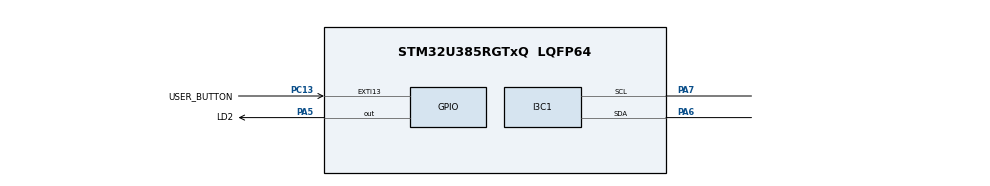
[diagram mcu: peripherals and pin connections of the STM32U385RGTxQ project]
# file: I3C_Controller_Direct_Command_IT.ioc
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CORTEX_M33_NS.userName=CORTEX_M33
I3C1.BusFreeDuration=432
I3C1.DutyCycleI3C=50
I3C1.FrequencyI3C=12500
I3C1.RXFIFOThreshold=HAL_I3C_RXFIFO_THRESHOLD_1_4
I3C1.Register0=0x00230303
I3C1.Register1=0x1014005e
I3C1.SCLI3CHighDuration=0x03
I3C1.SCLODLowDuration=0x23
I3C1.SCLPPLowDuration=0x03
I3C1.SCL_OD_Freq=2400
I3C1.SCL_PP_Freq=12000
I3C1.SDAHoldTime=HAL_I3C_SDA_HOLD_TIME_1_5
I3C1.TXFIFOThreshold=HAL_I3C_TXFIFO_THRESHOLD_1_4
I3C1.hexBusFreeDuration=0x14
I3C1.hexBusIdleDuration=0x5e
Mcu.Family=STM32U3
Mcu.Name=STM32U385RGTxQ
Mcu.Package=LQFP64
NVIC.EXTI13_IRQn=true\:0\:0\:false\:false\:true\:true\:true\:true
NVIC.I3C1_ER_IRQn=true\:0\:0\:false\:false\:true\:true\:true\:true
NVIC.I3C1_EV_IRQn=true\:0\:0\:false\:false\:true\:true\:true\:true
NVIC.PriorityGroup=NVIC_PRIORITYGROUP_4
PA5.GPIO_Label=LD2
PA5.Signal=GPIO_Output
PA6.Mode=Controller
PA6.Signal=I3C1_SDA
PA7.Mode=Controller
PA7.Signal=I3C1_SCL
PC13.GPIO_Label=USER_BUTTON
PC13.Signal=GPXTI13
ProjectManager.HeapSize=0x200
ProjectManager.StackSize=0x400
ProjectManager.TargetToolchain=EWARM V9.20
RCC.ADCFreq_Value=96000000
RCC.AHBFreq_Value=96000000
RCC.APB1Freq_Value=96000000
RCC.APB1TimFreq_Value=96000000
RCC.APB2Freq_Value=96000000
RCC.APB2TimFreq_Value=96000000
RCC.APB3Freq_Value=96000000
RCC.CortexFreq_Value=12000000
RCC.HCLKFreq_Value=96000000
RCC.HSE_VALUE=16000000
RCC.HSI48_VALUE=48000000
RCC.HSI_VALUE=16000000
RCC.LSE_VALUE=32768
RCC.LSIDIV_VALUE=32000
RCC.MSISDIV=RCC_MSI_DIV1
RCC.SYSCLKFreq_VALUE=96000000
RCC.USBFreq_Value=96000000
VP_ICACHE_VS_ICACHE.Mode=DirectMappedCache
VP_PWR_VS_DBSignals.Mode=DisableDeadBatterySignals
VP_PWR_VS_LPOM.Mode=PowerOptimisation
VP_PWR_VS_SECSignals.Mode=Security/Privilege
board=custom

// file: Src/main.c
/* USER CODE BEGIN Header */
/**
  ******************************************************************************
  * @file    I3C/I3C_Controller_Direct_Command_IT/Src/main.c
  * @author  MCD Application Team
  * @brief   This sample code shows how to use STM32U3xx I3C LL API as Controller
  *          to manage a Direct Command procedure between a Controller and a Target
  *          with a communication process based on IT transfer on Controller Side.
  *          The communication is done using 2 Boards.
  ******************************************************************************
  * @attention
  *
  * Copyright (c) 2024 STMicroelectronics.
  * All rights reserved.
  *
  * This software is licensed under terms that can be found in the LICENSE file
  * in the root directory of this software component.
  * If no LICENSE file comes with this software, it is provided AS-IS.
  *
  ******************************************************************************
  */
/* USER CODE END Header */
#include "main.h"

/* USER CODE BEGIN Includes */
#include "desc_target1.h"
#include "desc_target2.h"
/* USER CODE END Includes */

/* USER CODE BEGIN PV */
__IO uint8_t ubButtonPress = 0;

/* Number of Targets detected during DAA procedure */
__IO uint32_t uwTargetCount = 0;

/* Array contain targets descriptor */
TargetDesc_TypeDef *aTargetDesc[2] = \
                          {
                            &TargetDesc1,       /* DEVICE_ID1 */
                            &TargetDesc2        /* DEVICE_ID2 */
                          };

uint8_t aPayloadBuffer[64*COUNTOF(aTargetDesc)];

/* Array contain SET CCC associated data */
uint8_t aSETMWL_data[2] = {0x0, 0x4};
uint8_t aSETMRL_data[2] = {0x0, 0x4};

/* Descriptor for direct read CCC */
I3C_CCCTypeDef aGET_CCCList[] =
{
    /*   Target Addr              CCC Value    CCC data + defbyte pointer  CCC size + defbyte         Direction       */
    {TARGET1_DYN_ADDR,          Direct_GETPID,          {NULL,                  6},             LL_I3C_DIRECTION_READ},
    {TARGET1_DYN_ADDR,          Direct_GETBCR,          {NULL,                  1},             LL_I3C_DIRECTION_READ},
    {TARGET1_DYN_ADDR,          Direct_GETDCR,          {NULL,                  1},             LL_I3C_DIRECTION_READ},
    {TARGET1_DYN_ADDR,          Direct_GETMWL,          {NULL,                  2},             LL_I3C_DIRECTION_READ},
    {TARGET1_DYN_ADDR,          Direct_GETMRL,          {NULL,                  2},             LL_I3C_DIRECTION_READ},
    {TARGET1_DYN_ADDR,          Direct_GETSTATUS,       {NULL,                  2},             LL_I3C_DIRECTION_READ},
};

/* Descriptor for direct write CCC */
I3C_CCCTypeDef aSET_CCCList[] =
{
    /*   Target Addr              CCC Value    CCC data + defbyte pointer  CCC size + defbyte         Direction       */
    {TARGET1_DYN_ADDR,          Direct_SETMWL,          {aSETMWL_data,          2},             LL_I3C_DIRECTION_WRITE},
    {TARGET1_DYN_ADDR,          Direct_SETMRL,          {aSETMRL_data,          2},             LL_I3C_DIRECTION_WRITE},
};

/* Array contain Get CCC name in char, this array is use to print the value receive during Get CCC procedure */
char* aCommandCode[] = {
  "GETPID",
  "GETBCR",
  "GETDCR",
  "GETMWL",
  "GETMRL",
  "GETSTATUS"};

/* CCC transfer variables */
uint8_t ubCCCIdx = 0;
uint8_t ubFrameIdx = 0;
uint32_t uwCCCMessage[0xFF] = {0};
__IO uint32_t uwExitCondition = LL_I3C_GENERATE_RESTART;
__IO uint8_t ubNbCCC = 0;

/* Buffer used for reception */
uint8_t aRxBuffer[0x10];
__IO uint8_t ubNbRxData = 0;

/* Buffer used for transmission */
uint8_t aTxBuffer[0x10];
__IO uint8_t ubNbTxDataToTransfer = 0;
__IO uint8_t ubNbTxData = 0;

/* Function pointer on function TX buffer treatment */
void (*ptrTXFunc)(void);

/* Completion status */
__IO uint8_t ubFrameComplete = 0;
__IO uint8_t ubReceptionComplete = 0;
/* USER CODE END PV */

void SystemClock_Config(void);
static void MX_GPIO_Init(void);
static void MX_I3C1_Init(void);
static void MX_ICACHE_Init(void);
/* USER CODE BEGIN PFP */
void LED_On(void);
void LED_Off(void);
void LED_Toggle(void);
void LED_Blinking(uint32_t Period);
void WaitForUserButtonPress(void);
void FlushBuffer8(uint8_t* pBuffer1, uint16_t BufferSize);
void Handle_ENTDAA_Controller(void);
void Prepare_GET_CCC_Transfer(void);
void Prepare_SET_CCC_Transfer(void);
void Handle_CCC_Controller(void);
static void I3C_DynamicAddressTreatment(void);
static void I3C_TransmitByteTreatment(void);
static void DisplayCCCValue(I3C_CCCTypeDef *pGetCCCList, char **pCCCCharList, uint8_t *pCCCBuffer, uint8_t nbCCC);
#if (defined (__GNUC__) && !defined(__ARMCC_VERSION))
extern void initialise_monitor_handles(void);
#endif
/* USER CODE END PFP */

int main(void)
{

  /* USER CODE BEGIN 1 */
#if (defined (__GNUC__) && !defined(__ARMCC_VERSION))
  initialise_monitor_handles();
  printf("Semihosting Test...\n\r");
#endif
  /* USER CODE END 1 */

  /* MCU Configuration--------------------------------------------------------*/

  /* Reset of all peripherals, Initializes the Flash interface and the Systick. */

  /* System interrupt init*/
  NVIC_SetPriorityGrouping(NVIC_PRIORITYGROUP_4);

  /* SysTick_IRQn interrupt configuration */
  NVIC_SetPriority(SysTick_IRQn, NVIC_EncodePriority(NVIC_GetPriorityGrouping(),15, 0));

  /* Configure the system clock */
  SystemClock_Config();

  /* Initialize all configured peripherals */
  MX_GPIO_Init();
  MX_I3C1_Init();
  MX_ICACHE_Init();
  /* USER CODE BEGIN 2 */
  /* Set LD2 Off */
  LED_Off();

  /*##- Start Dynamic Address Assignment procedure ##################################*/

  /* Wait for User push-button press to start transfer */
  WaitForUserButtonPress();

  /* Handle Dynamic Address Assignment */
  Handle_ENTDAA_Controller();

  /* Wait end of Dynamic Address Assignment procedure */
  while(ubFrameComplete == 0U);

  /* Reset Complete variable */
  ubFrameComplete = 0;

  /*##- Prepare all CCC command  ####################################################*/
  /*  Each command is separate by a repeated start,
  until the end of the corresponding array aGET_CCCList then aSET_CCCList where
  an auto stop is generated */

  /* Wait for User push-button press to start transfer */
  WaitForUserButtonPress();

  /* Prepare CCC transfer from array aGET_CCCList then aSET_CCCList */
  Prepare_GET_CCC_Transfer();
  Prepare_SET_CCC_Transfer();

  /*##- Send the First part of CCC command ##########################################*/
  /*  Each command is separate by an repeated start,
  until the end of the corresponding array */

  /* Handle CCC transfer for first step of this example, mean GETCCC */
  Handle_CCC_Controller();

  /* Wait end of CCC transfer procedure */
  while(ubFrameComplete == 0U);

  /*##- Monitor the different value retrieve during CCC get #########################*/
  /*  At the end, of transfer, the application have retrieve all the data of
  the frame in an unique buffer, which must be unfill to retrieve the associated
  value for each get CCC command. */
  /* Display through external Terminal IO the Get CCC associated value received */
  DisplayCCCValue(aGET_CCCList, &aCommandCode[0], &aRxBuffer[0], COUNTOF(aGET_CCCList));

  /* Reset Complete variable */
  ubFrameComplete = 0;

  /*##- Send the second part of CCC command #########################################*/
  /*  Each command is separate by an repeated start,
  until the end of the corresponding array */

  /* Wait for User push-button press to start transfer */
  WaitForUserButtonPress();

  /* Handle CCC transfer for second step of this example, mean SETCCC */
  Handle_CCC_Controller();

  /* Wait end of CCC transfer procedure */
  while(ubFrameComplete == 0U);

  /* Reset Complete variable */
  ubFrameComplete = 0;

  /* USER CODE END 2 */

  /* Infinite loop */
  while (1)
  {

  }
}

void SystemClock_Config(void)
{
  /** Enable Epod Booster
  */
  LL_AHB1_GRP2_EnableClock(LL_AHB1_GRP2_PERIPH_PWR);
  LL_RCC_SetEPODBoosterClkSource(LL_RCC_EPODBOOSTCLKSRCE_MSIS);
  LL_RCC_SetEPODBoosterClkPrescaler(LL_RCC_EPODBOOSTCLKPRESCAL_1);
  LL_PWR_EnableEPODBooster();
  while(LL_PWR_IsActiveFlag_BOOST() != 1U)
  {
  }

  /** Configure the main internal regulator output voltage
  */
  LL_PWR_SetRegulVoltageScaling(LL_PWR_REGU_VOLTAGE_SCALE1);
  while(LL_PWR_GetRegulCurrentVOS() != LL_PWR_REGU_VOLTAGE_SCALE1)
  {
  }

  /** Set Flash latency before switching to MSIS
  */
  LL_FLASH_SetLatency(LL_FLASH_LATENCY_2);
  while(LL_FLASH_GetLatency() != LL_FLASH_LATENCY_2)
  {
  }

  /** Activate MSIS as source
  */
  LL_RCC_MSIS_SetClockSource(LL_RCC_MSIS_CLOCK_SOURCE_RC0);
  LL_RCC_MSIS_SetClockDivision(LL_RCC_MSIS_CLOCK_SOURCE_RC_DIV_1);
  LL_RCC_MSI_SetMSIxClockRange();
  LL_RCC_SetSysClkSource(LL_RCC_SYS_CLKSOURCE_MSIS);

  /** Wait till System clock is ready
  */
  while(LL_RCC_GetSysClkSource() != LL_RCC_SYS_CLKSOURCE_MSIS)
  {
  }

  LL_RCC_SetAHBPrescaler(LL_RCC_HCLK_SYSCLK_DIV_1);
  LL_RCC_SetAPB1Prescaler(LL_RCC_APB1_HCLK_DIV_1);
  LL_RCC_SetAPB2Prescaler(LL_RCC_APB2_HCLK_DIV_1);
  LL_RCC_SetAPB3Prescaler(LL_RCC_APB3_HCLK_DIV_1);

  LL_Init1msTick(96000000);

  LL_SetSystemCoreClock(96000000);
}

static void MX_I3C1_Init(void)
{

  LL_GPIO_InitTypeDef GPIO_InitStruct = {0};

  LL_RCC_SetI3CClockSource(LL_RCC_I3C1_CLKSOURCE_PCLK1);

  /* Peripheral clock enable */
  LL_APB1_GRP1_EnableClock(LL_APB1_GRP1_PERIPH_I3C1);

  LL_AHB2_GRP1_EnableClock(LL_AHB2_GRP1_PERIPH_GPIOA);
  /**I3C1 GPIO Configuration
  PA6   ------> I3C1_SDA
  PA7   ------> I3C1_SCL
  */
  GPIO_InitStruct.Pin = LL_GPIO_PIN_6|LL_GPIO_PIN_7;
  GPIO_InitStruct.Mode = LL_GPIO_MODE_ALTERNATE;
  GPIO_InitStruct.Speed = LL_GPIO_SPEED_FREQ_VERY_HIGH;
  GPIO_InitStruct.OutputType = LL_GPIO_OUTPUT_PUSHPULL;
  GPIO_InitStruct.Pull = LL_GPIO_PULL_NO;
  GPIO_InitStruct.Alternate = LL_GPIO_AF_6;
  LL_GPIO_Init(GPIOA, &GPIO_InitStruct);

  /* I3C1 interrupt Init */
  NVIC_SetPriority(I3C1_EV_IRQn, NVIC_EncodePriority(NVIC_GetPriorityGrouping(),0, 0));
  NVIC_EnableIRQ(I3C1_EV_IRQn);
  NVIC_SetPriority(I3C1_ER_IRQn, NVIC_EncodePriority(NVIC_GetPriorityGrouping(),0, 0));
  NVIC_EnableIRQ(I3C1_ER_IRQn);

  /** I3C Initialization
  */
  LL_I3C_SetMode(I3C1, LL_I3C_MODE_CONTROLLER);
  LL_I3C_SetDataHoldTime(I3C1, LL_I3C_SDA_HOLD_TIME_1_5);
  LL_I3C_SetControllerActivityState(I3C1, LL_I3C_OWN_ACTIVITY_STATE_0);
  LL_I3C_ConfigClockWaveForm(I3C1, 0x00230303);
  LL_I3C_SetCtrlBusCharacteristic(I3C1, 0x1014005e);
  LL_I3C_DisableHJAck(I3C1);

  /** Configure FIFO
  */
  LL_I3C_SetRxFIFOThreshold(I3C1, LL_I3C_RXFIFO_THRESHOLD_1_4);
  LL_I3C_SetTxFIFOThreshold(I3C1, LL_I3C_TXFIFO_THRESHOLD_1_4);
  LL_I3C_DisableControlFIFO(I3C1);
  LL_I3C_DisableStatusFIFO(I3C1);

  /** Configure Controller
  */
  LL_I3C_SetOwnDynamicAddress(I3C1, 0);
  LL_I3C_EnableOwnDynAddress(I3C1);
  LL_I3C_SetStallTime(I3C1, 0x00);
  LL_I3C_DisableStallACK(I3C1);
  LL_I3C_DisableStallParityCCC(I3C1);
  LL_I3C_DisableStallParityData(I3C1);
  LL_I3C_DisableStallTbit(I3C1);
  LL_I3C_DisableHighKeeperSDA(I3C1);

  /** Enable the selected I3C peripheral
  */
  LL_I3C_Enable(I3C1);
  /* USER CODE BEGIN I3C1_Init 2 */

  /* Add a delay to let startup of High level on the Bus */
  LL_mDelay(1);

  LL_I3C_EnableIT_FC(I3C1);
  LL_I3C_EnableIT_CFNF(I3C1);
  LL_I3C_EnableIT_RXFNE(I3C1);
  LL_I3C_EnableIT_TXFNF(I3C1);
  LL_I3C_EnableIT_ERR(I3C1);
  /* USER CODE END I3C1_Init 2 */

}

static void MX_ICACHE_Init(void)
{

  /** Enable instruction cache in 1-way (direct mapped cache)
  */
  LL_ICACHE_SetMode(LL_ICACHE_1WAY);
  LL_ICACHE_Enable();

}

static void MX_GPIO_Init(void)
{
  LL_EXTI_InitTypeDef EXTI_InitStruct = {0};
  LL_GPIO_InitTypeDef GPIO_InitStruct = {0};

  /* GPIO Ports Clock Enable */
  LL_AHB2_GRP1_EnableClock(LL_AHB2_GRP1_PERIPH_GPIOC);
  LL_AHB2_GRP1_EnableClock(LL_AHB2_GRP1_PERIPH_GPIOA);

  /**/
  LL_GPIO_ResetOutputPin(LD2_GPIO_Port, LD2_Pin);

  /**/
  LL_EXTI_SetEXTISource(LL_EXTI_CONFIG_PORTC, LL_EXTI_CONFIG_LINE13);

  /**/
  EXTI_InitStruct.Line_0_31 = LL_EXTI_LINE_13;
  EXTI_InitStruct.LineCommand = ENABLE;
  EXTI_InitStruct.Mode = LL_EXTI_MODE_IT;
  EXTI_InitStruct.Trigger = LL_EXTI_TRIGGER_RISING;
  LL_EXTI_Init(&EXTI_InitStruct);

  /**/
  LL_GPIO_SetPinPull(USER_BUTTON_GPIO_Port, USER_BUTTON_Pin, LL_GPIO_PULL_NO);

  /**/
  LL_GPIO_SetPinMode(USER_BUTTON_GPIO_Port, USER_BUTTON_Pin, LL_GPIO_MODE_INPUT);

  /**/
  GPIO_InitStruct.Pin = LD2_Pin;
  GPIO_InitStruct.Mode = LL_GPIO_MODE_OUTPUT;
  GPIO_InitStruct.Speed = LL_GPIO_SPEED_FREQ_LOW;
  GPIO_InitStruct.OutputType = LL_GPIO_OUTPUT_PUSHPULL;
  GPIO_InitStruct.Pull = LL_GPIO_PULL_NO;
  LL_GPIO_Init(LD2_GPIO_Port, &GPIO_InitStruct);

  /* EXTI interrupt init*/
  NVIC_SetPriority(EXTI13_IRQn, NVIC_EncodePriority(NVIC_GetPriorityGrouping(),0, 0));
  NVIC_EnableIRQ(EXTI13_IRQn);

}

/* USER CODE BEGIN 4 */
/**
  * @brief  Flush 8-bit buffer.
  * @param  pBuffer1: pointer to the buffer to be flushed.
  * @param  BufferSize: Size of Buffer.
  * @retval None
  */
void FlushBuffer8(uint8_t* pBuffer1, uint16_t BufferSize)
{
  uint8_t Index = 0;

  for (Index = 0; Index < BufferSize; Index++)
  {
    pBuffer1[Index] = 0;
  }
}

/**
  * @brief  Turn-on LD2.
  * @param  None
  * @retval None
  */
void LED_On(void)
{
  /* Turn LD2 on */
  LL_GPIO_SetOutputPin(LD2_GPIO_Port, LD2_Pin);
}

/**
  * @brief  Turn-off LD2.
  * @param  None
  * @retval None
  */
void LED_Off(void)
{
  /* Turn LD2 off */
  LL_GPIO_ResetOutputPin(LD2_GPIO_Port, LD2_Pin);
}

/**
  * @brief  Toggle LD2.
  * @param  None
  * @retval None
  */
void LED_Toggle(void)
{
  /* Toggle LD2 on */
  LL_GPIO_TogglePin(LD2_GPIO_Port, LD2_Pin);
}

/**
  * @brief  Set LD2 to Blinking mode for an infinite loop (toggle period based on value provided as input parameter).
  * @param  Period : Period of time (in ms) between each toggling of LED
  *   This parameter can be user defined values. Pre-defined values used in that example are :
  *     @arg LED_BLINK_FAST : Fast Blinking
  *     @arg LED_BLINK_SLOW : Slow Blinking
  *     @arg LED_BLINK_ERROR : Error specific Blinking
  * @retval None
  */
void LED_Blinking(uint32_t Period)
{
  /* Turn LD2 on */
  LED_On();

  /* Toggle IO in an infinite loop */
  while (1)
  {
    LED_Toggle();
    LL_mDelay(Period);
  }
}

/**
  * @brief  This Function handle Controller events to perform an Assign dynamic address process
  * @note  This function is composed in one step :
  *        -1- Initiate the Dynamic address assignment procedure.
  * @param  None
  * @retval None
  */
void Handle_ENTDAA_Controller(void)
{
  /* Set Treatment function pointer */
  ptrTXFunc = &I3C_DynamicAddressTreatment;

  /* (1) Initiate a Dynamic Address Assignment to the Target connected on the bus ****/
  /* Controller Generate Start condition for a write request with a Broadcast ENTDAA:
  *  - to the Targets connected on the bus
  *  - with an auto stop condition generation when all Targets answer the ENTDAA sequence.
  */
  LL_I3C_ControllerHandleCCC(I3C1, Broadcast_ENTDAA, 0, LL_I3C_GENERATE_STOP);
}

/**
  * @brief  This Function handle Get Direct Common Command Code transfer to a target
  * @note  This function is composed in one step :
  *        -1- Compute the different parameter of aGET_CCCList array into CCC message.
  *            The CCC message take the structure of hardware Control Register
  *            to safe process time during the sending of Control data into the hardware.
  *            A repeated start is inserted between each CCC command.
  *            A stop is inserted at the end of the CCC array.
  * @param  None
  * @retval None
  */
void Prepare_GET_CCC_Transfer(void)
{
  uint32_t ControlMask = (I3C_CR_ADD | I3C_CR_DCNT | I3C_CR_RNW | I3C_CR_MTYPE | I3C_CR_MEND);

  for(ubCCCIdx = 0; ubCCCIdx < COUNTOF(aGET_CCCList); ubCCCIdx++)
  {
    /* (1) Prepare the CCC transfer to a Target connected on the bus ***********************/
    /* First part correspond to Direct Command Code value, size of the defining byte and
       repeated start for second part of CCC message.
    */
    MODIFY_REG(uwCCCMessage[ubFrameIdx],                                                                               \
               ControlMask,                                                                                            \
               ((aGET_CCCList[ubCCCIdx].CCC << I3C_CR_RNW_Pos)                                                       | \
               0                                                                                                     | \
               LL_I3C_CONTROLLER_MTYPE_CCC                                                                           | \
               LL_I3C_GENERATE_RESTART));

    /* Increment Frame index */
    ubFrameIdx++;

    /* Insert a stop condition at the end of the CCC array */
    if (ubCCCIdx == (COUNTOF(aGET_CCCList) - 1))
    {
      uwExitCondition = LL_I3C_GENERATE_STOP;
    }

    /* Second part correspond to Target address, size of the CCC associated data, direction and
       repeated start between each CCC message or stop the last CCC message.
    */
    MODIFY_REG(uwCCCMessage[ubFrameIdx],                                                                               \
               ControlMask,                                                                                            \
               ((aGET_CCCList[ubCCCIdx].TargetAddr << I3C_CR_ADD_Pos)                                                | \
               aGET_CCCList[ubCCCIdx].CCCBuf.Size                                                                    | \
               aGET_CCCList[ubCCCIdx].Direction                                                                      | \
               LL_I3C_CONTROLLER_MTYPE_DIRECT                                                                        | \
               uwExitCondition));

    /* Reset variable to Restart default value */
    uwExitCondition = LL_I3C_GENERATE_RESTART;

    /* Increment Frame index */
    ubFrameIdx++;
  }
}

/**
  * @brief  This Function handle Set Direct Common Command Code transfer to a target
  * @note  This function is composed in one step :
  *        -1- Compute the different parameter of aSET_CCCList array into CCC message.
  *            The CCC message take the structure of hardware Control Register
  *            to safe process time during the sending of Control data into the hardware.
  *            A repeated start is inserted between each CCC command.
  *            A stop is inserted at the end of the CCC array.
  * @param  None
  * @retval None
  */
void Prepare_SET_CCC_Transfer(void)
{
  uint32_t ControlMask = (I3C_CR_ADD | I3C_CR_DCNT | I3C_CR_RNW | I3C_CR_MTYPE | I3C_CR_MEND);

  for(ubCCCIdx = 0; ubCCCIdx < COUNTOF(aSET_CCCList); ubCCCIdx++)
  {
    /* (1) Prepare the CCC transfer to a Target connected on the bus ***********************/
    /* First part correspond to Direct Command Code value, size of the defining byte and
       repeated start for second part of CCC message.
    */
    MODIFY_REG(uwCCCMessage[ubFrameIdx],                                                                               \
               ControlMask,                                                                                            \
               ((aSET_CCCList[ubCCCIdx].CCC << I3C_CR_RNW_Pos)                                                       | \
               0                                                                                                     | \
               LL_I3C_CONTROLLER_MTYPE_CCC                                                                           | \
               LL_I3C_GENERATE_RESTART));

    /* Increment Frame index */
    ubFrameIdx++;

    /* Insert a stop condition at the end of the CCC array */
    if (ubCCCIdx == (COUNTOF(aSET_CCCList) - 1))
    {
      uwExitCondition = LL_I3C_GENERATE_STOP;
    }

    /* Second part correspond to Target address, size of the CCC associated data, direction and
       repeated start between each CCC message or stop the last CCC message.
    */
    MODIFY_REG(uwCCCMessage[ubFrameIdx],                                                                               \
               ControlMask,                                                                                            \
               ((aSET_CCCList[ubCCCIdx].TargetAddr << I3C_CR_ADD_Pos)                                                | \
               aSET_CCCList[ubCCCIdx].CCCBuf.Size                                                                    | \
               aSET_CCCList[ubCCCIdx].Direction                                                                      | \
               LL_I3C_CONTROLLER_MTYPE_DIRECT                                                                        | \
               uwExitCondition));

    /* Prepare Tx Buffer with the value of CCC associated data */
    for (uint8_t size = 0; size < aSET_CCCList[ubCCCIdx].CCCBuf.Size; size++)
    {
      aTxBuffer[ubNbTxDataToTransfer++] = aSET_CCCList[ubCCCIdx].CCCBuf.pBuffer[size];
    }

    /* Reset variable to Restart default value */
    uwExitCondition = LL_I3C_GENERATE_RESTART;

    /* Increment Frame index */
    ubFrameIdx++;
  }
}

/**
  * @brief  This Function handle Direct Common Command Code transfer to a target
  * @note  This function is composed in one step :
  *        -1- Initiate the start of the CCC transfer procedure.
  * @param  None
  * @retval None
  */
void Handle_CCC_Controller(void)
{
  /* Flush Buffer before start a CCC transfer */
  FlushBuffer8(aRxBuffer, COUNTOF(aRxBuffer));

  /* Reset Counter */
  ubNbRxData = 0;

  /* Set Treatment function pointer */
  ptrTXFunc = &I3C_TransmitByteTreatment;

  /* Start Transfer CCC */
  LL_I3C_RequestTransfer(I3C1);
}

/**
  * @brief  Display the different value retrieve during GET CCC.
  * @param  pGetCCCList  Pointer to a CCC List descriptor.
  * @param  pCCCCharList Pointer to a buffer contain CCC name in char.
  * @param  pCCCBuffer   Pointer to a receive CCC buffer.
  * @param  nbCCC        Number of Get CCC to display.
  * @retval None.
  */
static void DisplayCCCValue(I3C_CCCTypeDef *pGetCCCList, char **pCCCCharList, uint8_t *pCCCBuffer, uint8_t nbCCC)
{
  for (uint8_t j = 0; j < nbCCC; j++)
  {
    printf("%s: 0x", pCCCCharList[j]);
    for (uint8_t i = 0; i < (pGetCCCList[j].CCCBuf.Size); i++)
    {
      /* Fill local buffer with different CCC value */
      printf("%x", *pCCCBuffer++);
    }
    printf("\n\r");
  }
}

/******************************************************************************/
/*   IRQ HANDLER TREATMENT Functions                                          */
/******************************************************************************/
/**
  * @brief  Wait for User push-button press to start transfer.
  * @param  None
  * @retval None
  */
/*  */
void WaitForUserButtonPress(void)
{
  while (ubButtonPress == 0)
  {
    LED_Toggle();
    LL_mDelay(LED_BLINK_FAST);
  }
  /* Turn LD2 off */
  LED_Off();

  /* Reset Variable */
  ubButtonPress = 0;
}

/**
  * @brief  Function to manage User push-button
  * @param  None
  * @retval None
  */
void UserButton_Callback(void)
{
  /* Update User push-button variable : to be checked in waiting loop in main program */
  ubButtonPress = 1;
}

/**
  * @brief  I3C transmit Dynamic address to a Target.
  * @param  None
  * @retval None
  */
static void I3C_DynamicAddressTreatment(void)
{
  uint64_t target_payload = 0U;

  /* Check on the Rx FIFO threshold to know the Dynamic Address Assignment treatment process : byte or word */
  if (LL_I3C_GetRxFIFOThreshold(I3C1) == LL_I3C_RXFIFO_THRESHOLD_1_4)
  {
    /* Loop to get target payload */
    for (uint32_t index = 0U; index < 8U; index++)
    {
      /* Retrieve payload byte by byte */
      target_payload |= (uint64_t)((uint64_t)LL_I3C_ReceiveData8(I3C1) << (index * 8U));
    }
  }
  else
  {
    /* Retrieve first 32 bits payload */
    target_payload = (uint64_t)LL_I3C_ReceiveData32(I3C1);

    /* Retrieve second 32 bits payload */
    target_payload |= (uint64_t)((uint64_t)LL_I3C_ReceiveData32(I3C1) << 32U);
  }

  /* Call the corresponding callback */
  Target_Request_DynamicAddrCallback(target_payload);
}

/**
  * @brief  I3C transmit data by byte per byte.
  * @param  None
  * @retval None
  */
static void I3C_TransmitByteTreatment(void)
{
  /* Check counter of remaining bytes counter before send a new data */
  if (ubNbTxDataToTransfer > 0)
  {
    /* Write Tx buffer data to transmit register */
    LL_I3C_TransmitData8(I3C1, aTxBuffer[ubNbTxData++]);

    /* Decrement remaining bytes counter */
    ubNbTxDataToTransfer--;
  }
}

/**
  * @brief  Target Request Dynamic Address callback.
  * @param  targetPayload : Contain the target payload.
  * @retval None
  */
void Target_Request_DynamicAddrCallback(uint64_t targetPayload)
{
  /* Store Payload in aTargetDesc */
  aTargetDesc[uwTargetCount]->TARGET_BCR_DCR_PID = targetPayload;

  /* Send associated dynamic address */
  /* Write device address in the TDR register */
  /* Increment Target counter */
  LL_I3C_TransmitData8(I3C1, aTargetDesc[uwTargetCount++]->DYNAMIC_ADDR);
}

/**
  * @brief  Controller Complete callback.
  * @param  None
  * @retval None
  */
void Controller_Complete_Callback(void)
{
  /* Update Completion status */
  ubFrameComplete = 1;

  /* Toggle LD2: Transfer in Transmission process is correct */
  LED_Toggle();
}

/**
  * @brief  Controller Receive callback.
  * @param  None
  * @retval None
  */
void Controller_Reception_Callback(void)
{
  aRxBuffer[ubNbRxData++] = LL_I3C_ReceiveData8(I3C1);
}

/**
  * @brief  Controller Transmit callback.
  * @param  None
  * @retval None
  */
void Controller_Transmit_Callback(void)
{
  ptrTXFunc();
}

/**
  * @brief  Controller Control callback.
  * @param  None
  * @retval None
  */
void Controller_Frame_Update_Callback(void)
{
  WRITE_REG(I3C1->CR, uwCCCMessage[ubNbCCC++]);
}
/* USER CODE END 4 */

void Error_Handler(void)
{
  /* USER CODE BEGIN Error_Handler_Debug */
  while (1)
  {
    /* Unexpected event : Set LD2 to Blinking mode to indicate error occurs */
    LED_Blinking(LED_BLINK_ERROR);
  }
  /* USER CODE END Error_Handler_Debug */
}
